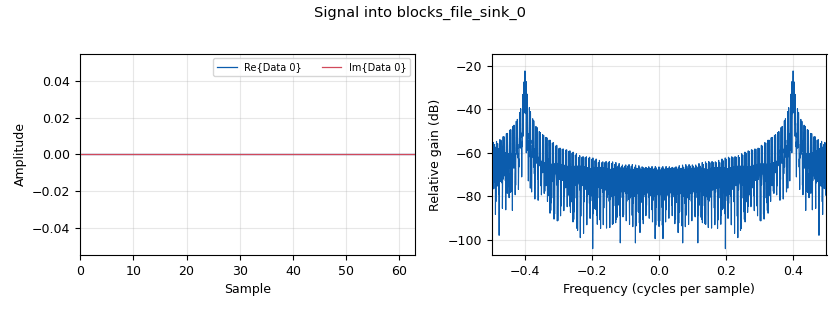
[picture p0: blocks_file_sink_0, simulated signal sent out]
<?xml version='1.0' encoding='utf-8'?>
<?grc format='1' created='3.7.11'?>
<flow_graph>
<block>
<key>options</key>
<param><key>id</key><value>top_block</value></param>
<param><key>category</key><value>Custom</value></param>
<param><key>generate_options</key><value>wx_gui</value></param>
</block>
<block>
<key>variable</key>
<param><key>id</key><value>symbol_duration</value></param>
<param><key>value</key><value>0.512e-3</value></param>
</block>
<block>
<key>variable</key>
<param><key>id</key><value>target_freq</value></param>
<param><key>value</key><value>433.920e6</value></param>
</block>
<block>
<key>variable</key>
<param><key>id</key><value>target_rate</value></param>
<param><key>value</key><value>2e5</value></param>
</block>
<block>
<key>analog_const_source_x</key>
<param><key>id</key><value>analog_const_source_x_0</value></param>
<param><key>const</key><value>0</value></param>
<param><key>type</key><value>float</value></param>
</block>
<block>
<key>analog_const_source_x</key>
<param><key>id</key><value>analog_const_source_x_1</value></param>
<param><key>const</key><value>1</value></param>
<param><key>type</key><value>float</value></param>
</block>
<block>
<key>analog_sig_source_x</key>
<param><key>id</key><value>analog_sig_source_x_0</value></param>
<param><key>amp</key><value>1</value></param>
<param><key>freq</key><value>target_freq</value></param>
<param><key>offset</key><value>0</value></param>
<param><key>type</key><value>float</value></param>
<param><key>samp_rate</key><value>target_rate</value></param>
<param><key>waveform</key><value>analog.GR_COS_WAVE</value></param>
</block>
<block>
<key>blocks_file_sink</key>
<param><key>id</key><value>blocks_file_sink_0</value></param>
<param><key>file</key><value>/home/tobias/Downloads/CTF/CAMP/test3.complex</value></param>
<param><key>type</key><value>complex</value></param>
</block>
<block>
<key>blocks_float_to_complex</key>
<param><key>id</key><value>blocks_float_to_complex_1</value></param>
</block>
<block>
<key>blocks_multiply_const_vxx</key>
<param><key>id</key><value>blocks_multiply_const_vxx_1</value></param>
<param><key>const</key><value>1</value></param>
<param><key>type</key><value>complex</value></param>
</block>
<block>
<key>blocks_multiply_xx</key>
<param><key>id</key><value>blocks_multiply_xx_0</value></param>
<param><key>type</key><value>float</value></param>
</block>
<block>
<key>blocks_patterned_interleaver</key>
<param><key>id</key><value>blocks_patterned_interleaver_0</value></param>
<param><key>type</key><value>float</value></param>
<param><key>pattern</key><value>[2,1,0]</value></param>
</block>
<block>
<key>blocks_repeat</key>
<param><key>id</key><value>blocks_repeat_0</value></param>
<param><key>interp</key><value>int(target_rate*symbol_duration)</value></param>
<param><key>type</key><value>float</value></param>
</block>
<block>
<key>blocks_throttle</key>
<param><key>id</key><value>blocks_throttle_0</value></param>
<param><key>samples_per_second</key><value>target_rate</value></param>
<param><key>type</key><value>complex</value></param>
</block>
<block>
<key>blocks_throttle</key>
<param><key>id</key><value>blocks_throttle_2</value></param>
<param><key>samples_per_second</key><value>target_rate</value></param>
<param><key>type</key><value>float</value></param>
</block>
<block>
<key>blocks_vector_source_x</key>
<param><key>id</key><value>blocks_vector_source_x_0</value></param>
<param><key>type</key><value>float</value></param>
<param><key>repeat</key><value>False</value></param>
<param><key>vector</key><value>[0,0,1,0,0,1,1,0,1,1,1,1,0,0,1,1,1,0,0,1,0,0,0,0,0,0]</value></param>
</block>
<connection><source_block_id>analog_const_source_x_0</source_block_id><sink_block_id>blocks_patterned_interleaver_0</sink_block_id><source_key>0</source_key><sink_key>2</sink_key></connection>
<connection><source_block_id>analog_const_source_x_1</source_block_id><sink_block_id>blocks_patterned_interleaver_0</sink_block_id><source_key>0</source_key><sink_key>1</sink_key></connection>
<connection><source_block_id>analog_sig_source_x_0</source_block_id><sink_block_id>blocks_multiply_xx_0</sink_block_id><source_key>0</source_key><sink_key>1</sink_key></connection>
<connection><source_block_id>blocks_float_to_complex_1</source_block_id><sink_block_id>blocks_multiply_const_vxx_1</sink_block_id><source_key>0</source_key><sink_key>0</sink_key></connection>
<connection><source_block_id>blocks_multiply_const_vxx_1</source_block_id><sink_block_id>blocks_throttle_0</sink_block_id><source_key>0</source_key><sink_key>0</sink_key></connection>
<connection><source_block_id>blocks_multiply_xx_0</source_block_id><sink_block_id>blocks_float_to_complex_1</sink_block_id><source_key>0</source_key><sink_key>0</sink_key></connection>
<connection><source_block_id>blocks_patterned_interleaver_0</source_block_id><sink_block_id>blocks_repeat_0</sink_block_id><source_key>0</source_key><sink_key>0</sink_key></connection>
<connection><source_block_id>blocks_repeat_0</source_block_id><sink_block_id>blocks_throttle_2</sink_block_id><source_key>0</source_key><sink_key>0</sink_key></connection>
<connection><source_block_id>blocks_throttle_0</source_block_id><sink_block_id>blocks_file_sink_0</sink_block_id><source_key>0</source_key><sink_key>0</sink_key></connection>
<connection><source_block_id>blocks_throttle_2</source_block_id><sink_block_id>blocks_multiply_xx_0</sink_block_id><source_key>0</source_key><sink_key>0</sink_key></connection>
<connection><source_block_id>blocks_vector_source_x_0</source_block_id><sink_block_id>blocks_patterned_interleaver_0</sink_block_id><source_key>0</source_key><sink_key>0</sink_key></connection>
</flow_graph>
